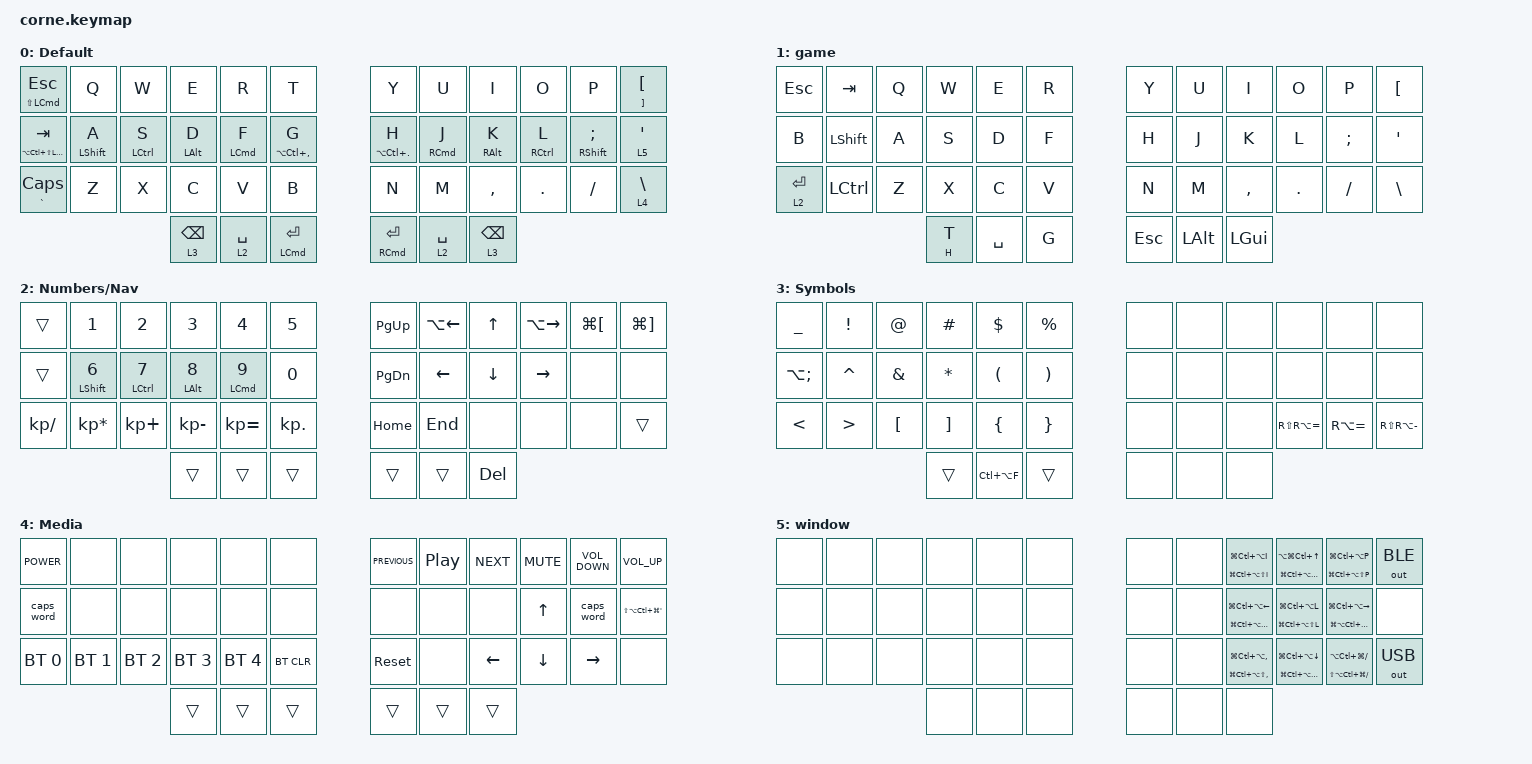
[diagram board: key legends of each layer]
/*
 * SPDX-License-Identifier: MIT
 */

#include <behaviors.dtsi>
#include <dt-bindings/zmk/bt.h>
#include <dt-bindings/zmk/keys.h>
#include <dt-bindings/zmk/outputs.h>

// #define DEF 0
// #define LWR 1
// #define RSE 2
// #define ADJ 3

&lt { quick_tap_ms = <200>; };

&mt {
    flavor = "tap-preferred";
    hold-trigger-on-release;
};

/ {
    chosen {
        zmk,matrix_transform = &default_transform;

        // zmk,matrix_transform = &extra_keys_transform;
    };

    combos {
        compatible = "zmk,combos";

        harden_sign {
            bindings = <&kp RBKT>;
            key-positions = <31 32>;
            layers = <0>;
        };

        comma {
            bindings = <&comma_space>;
            key-positions = <26 27>;
            layers = <0>;
        };

        period {
            bindings = <&period_space>;
            key-positions = <27 28>;
            layers = <0>;
        };

        t_game {
            bindings = <&tog 1>;
            key-positions = <35 24>;
            layers = <0 1>;
        };

        ch_lang {
            bindings = <&kp LG(SPACE)>;
            key-positions = <16 17>;
            layers = <0>;
            timeout-ms = <80>;
            require-prior-idle-ms = <100>;
        };

        caps_word {
            bindings = <&caps_word>;
            key-positions = <12 13>;
            timeout-ms = <80>;
            layers = <0>;
        };

        space {
            bindings = <&kp SPACE>;
            key-positions = <28 29>;
            layers = <0>;
        };
    };

    macros {
        comma_space: comma_space {
            compatible = "zmk,behavior-macro";
            #binding-cells = <0>;
            bindings = <&kp LA(LC(COMMA)) &kp SPACE>;
            label = "COMMA_SPACE";
        };

        period_space: period_space {
            compatible = "zmk,behavior-macro";
            #binding-cells = <0>;
            bindings = <&kp LC(LA(PERIOD)) &kp SPACE>;
            label = "PERIOD_SPACE";
        };
    };

    keymap {
        compatible = "zmk,keymap";

        default_layer {
            bindings = <
&mt LS(LCMD) ESC          &kp Q         &kp W        &kp E            &kp R        &kp T                  &kp Y                 &kp U        &kp I            &kp O        &kp P            &mt RBKT LBKT
&mt LA(LC(LS(LCMD))) TAB  &mt LSHIFT A  &mt LCTRL S  &mt LALT D       &mt LCMD F   &mt LA(LC(COMMA)) G    &mt LA(LC(PERIOD)) H  &mt RCMD J   &mt RALT K       &mt RCTRL L  &mt RSHIFT SEMI  &lt 5 APOS
&mt GRAVE CAPS            &kp Z         &kp X        &kp C            &kp V        &kp B                  &kp N                 &kp M        &kp COMMA        &kp PERIOD   &kp SLASH        &lt 4 BACKSLASH
                                                     &lt 3 BACKSPACE  &lt 2 SPACE  &mt LCMD ENTER         &mt RCMD ENTER        &lt 2 SPACE  &lt 3 BACKSPACE
            >;

            label = "Default";
        };

        game {
            bindings = <
&kp ESCAPE   &kp TAB    &kp Q  &kp W    &kp E      &kp R    &kp Y    &kp U         &kp I         &kp O    &kp P     &kp LBKT
&kp B        &kp LSHFT  &kp A  &kp S    &kp D      &kp F    &kp H    &kp J         &kp K         &kp L    &kp SEMI  &kp SQT
&lt 2 ENTER  &kp LCTRL  &kp Z  &kp X    &kp C      &kp V    &kp N    &kp M         &kp COMMA     &kp DOT  &kp FSLH  &kp BSLH
                               &mt H T  &kp SPACE  &kp G    &kp ESC  &kp LEFT_ALT  &kp LEFT_GUI
            >;
        };

        num_layer {
            bindings = <
&trans         &kp N1               &kp N2        &kp N3        &kp N4             &kp N5        &kp PG_UP  &kp LA(LEFT)  &kp UP    &kp LA(RIGHT)  &kp LG(LBKT)  &kp LG(RBKT)
&trans         &mt LSHIFT NUMBER_6  &mt LCTRL N7  &mt LALT N8   &mt LCMD NUMBER_9  &kp N0        &kp PG_DN  &kp LEFT      &kp DOWN  &kp RIGHT      &none         &none
&kp KP_DIVIDE  &kp KP_MULTIPLY      &kp KP_PLUS   &kp KP_MINUS  &kp KP_EQUAL       &kp KP_DOT    &kp HOME   &kp END       &none     &none          &none         &trans
                                                  &trans        &trans             &trans        &trans     &trans        &kp DEL
            >;

            label = "Numbers/Nav";
        };

        symb_layer {
            bindings = <
&kp UNDER     &kp EXCL   &kp AT    &kp HASH   &kp DLLR              &kp PRCNT                &none  &none  &none  &none              &none          &none
&kp LA(SEMI)  &kp CARET  &kp AMPS  &kp ASTRK  &kp LEFT_PARENTHESIS  &kp RIGHT_PARENTHESIS    &none  &none  &none  &none              &none          &none
&kp LT        &kp GT     &kp LBKT  &kp RBKT   &kp LEFT_BRACE        &kp RIGHT_BRACE          &none  &none  &none  &kp RS(RA(EQUAL))  &kp RA(EQUAL)  &kp RS(RA(MINUS))
                                   &trans     &kp LC(LA(F))         &trans                   &none  &none  &none
            >;

            label = "Symbols";
        };

        media_layer {
            bindings = <
&kp C_POWER   &none         &none         &none         &none         &none         &kp C_PREVIOUS  &kp C_PLAY_PAUSE  &kp C_NEXT  &kp K_MUTE  &kp C_VOLUME_DOWN  &kp C_VOL_UP
&caps_word    &none         &none         &none         &none         &none         &none           &none             &none       &kp UP      &caps_word         &kp LS(LA(LC(LG(SQT))))
&bt BT_SEL 0  &bt BT_SEL 1  &bt BT_SEL 2  &bt BT_SEL 3  &bt BT_SEL 4  &bt BT_CLR    &sys_reset      &none             &kp LEFT    &kp DOWN    &kp RIGHT          &none
                                          &trans        &trans        &trans        &trans          &trans            &trans
            >;

            label = "Media";
        };

        window {
            bindings = <
&none  &none  &none  &none  &none  &none    &none  &none  &mt LG(LC(LA(LS(I)))) LG(LC(LA(I)))          &mt LG(LC(LA(LS(UP)))) LA(LG(LC(UP)))      &mt LG(LC(LA(LS(P)))) LG(LC(LA(P)))          &out OUT_BLE
&none  &none  &none  &none  &none  &none    &none  &none  &mt LG(LC(LA(LS(LEFT)))) LG(LC(LA(LEFT)))    &mt LG(LC(LA(LS(L)))) LG(LC(LA(L)))        &mt LG(LA(LC(LS(RIGHT)))) LG(LC(LA(RIGHT)))  &none
&none  &none  &none  &none  &none  &none    &none  &none  &mt LG(LC(LA(LS(COMMA)))) LG(LC(LA(COMMA)))  &mt LG(LC(LA(LS(DOWN)))) LG(LC(LA(DOWN)))  &mt LS(LA(LC(LG(SLASH)))) LA(LC(LG(SLASH)))  &out OUT_USB
                     &none  &none  &none    &none  &none  &none
            >;
        };
    };

    conditional_layers { compatible = "zmk,conditional-layers"; };
};
